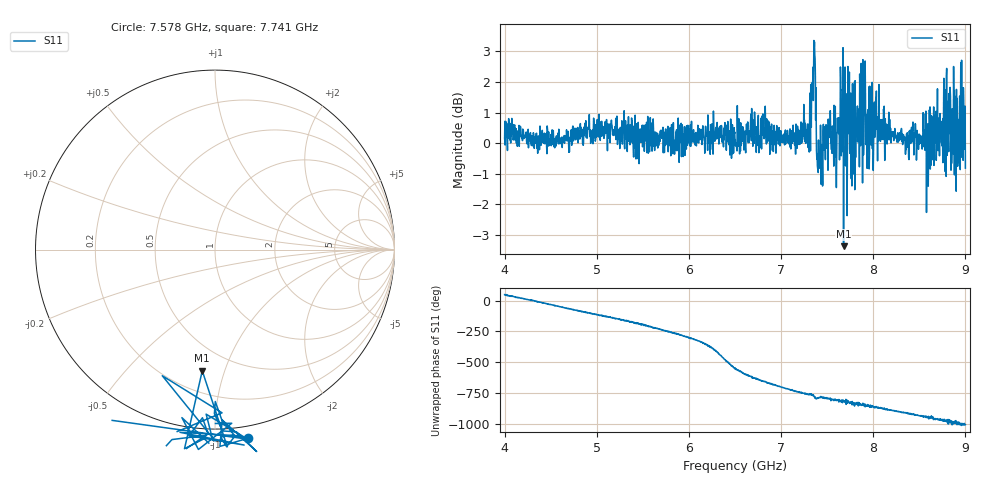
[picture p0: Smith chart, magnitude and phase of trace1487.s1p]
! Created with skrf 1.8.0 (http://scikit-rf.org).
# Hz S RI R 50.0
!freq ReS11 ImS11
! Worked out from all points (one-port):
!   1601 points, 4 GHz to 9 GHz, reference 50 ohm
!   lowest |S11| = -3.4 dB at 7.678 GHz (marker M1), VSWR 5.23, Z = 16.8 - j42.1 ohm
!   |S11| at or under -10 dB: nowhere
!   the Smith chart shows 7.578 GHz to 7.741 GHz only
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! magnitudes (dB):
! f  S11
! 4 GHz  0.1
! 4.625 GHz  -0.1
! 5.25 GHz  -0.2
! 5.875 GHz  0.4
! 6.331 GHz  0.5
! 6.5 GHz  0.1
! 6.691 GHz  0.2
! 7.125 GHz  0.2
! 7.294 GHz  -0.1
! 7.347 GHz  2.5
! 7.366 GHz  2.9
! 7.409 GHz  -0.7
! 7.481 GHz  -0.5
! 7.609 GHz  0.4
! 7.647 GHz  2.1
! 7.678 GHz  -3.4
! 7.75 GHz  0.3
! 7.784 GHz  -0.2
! 7.891 GHz  0.7
! 7.944 GHz  1.0
! 8.038 GHz  0.5
! 8.375 GHz  0.1
! 8.547 GHz  1.0
! 8.603 GHz  -0.8
! 8.788 GHz  -0.6
! 8.919 GHz  0.0
! 8.972 GHz  0.3
! 9 GHz  -0.8
